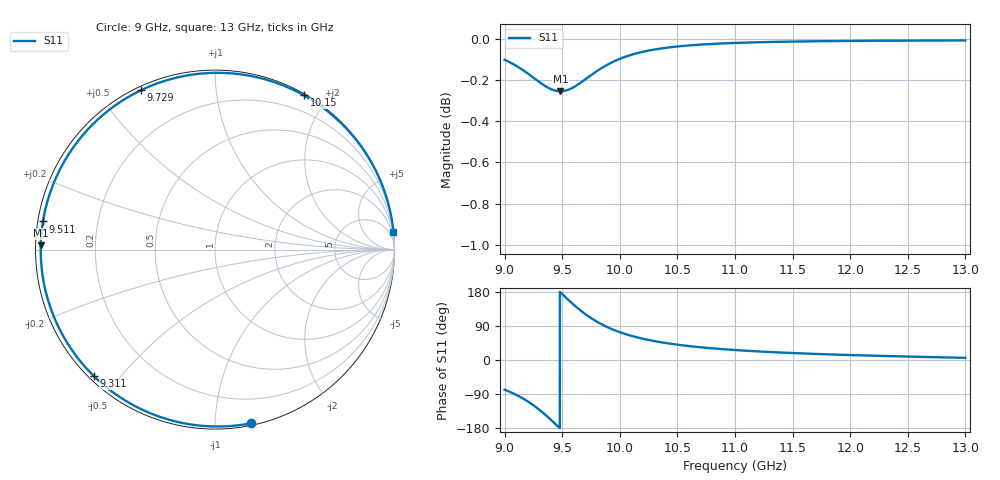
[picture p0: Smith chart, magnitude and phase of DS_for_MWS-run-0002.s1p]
! TOUCHSTONE file generated by CST DESIGN STUDIO
! Date and time: Tue Feb  4 15:56:11 2025
! Project name: C:\Work\MatlabApps\UnitCellOptimizationMatlab\CST\unitcell.cst
! Tree item: Tasks\Sweep1\SPara1\S-Parameters
! Header version: 2024
! Port assignment regex: !\s*Touchstone port\s*([0-9]+)\s*=\s*(CST MWS port|CST DES external port|CST DES block port)\s*(.+)\s* \(\"(.*)\"\)(\s*mode\s*([0-9]+))?.*
! Touchstone port assignment:
! Touchstone port 1 = CST DES external port 1 ("")
# GHz S MA R 50
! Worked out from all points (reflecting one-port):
!   4001 points, 9 GHz to 13 GHz, reference 50 ohm
!   lowest |S11| = -0.3 dB at 9.484 GHz (marker M1), VSWR 68.28, Z = 0.732 + j0.63 ohm
!   phase of S11 starts at -78 deg and turns -276 deg over the sweep
!   S11 on the Smith chart (normalised r, x): 9 GHz: 0.01, -1.23; 9.311 GHz: 0.01, -0.43; 9.511 GHz: 0.01, +0.08; 9.729 GHz: 0.01, +0.64; 10.15 GHz: 0.02, +1.73; 13 GHz: 0, +20
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9  0.9884 -78.3
9.078  0.9859 -88.6
9.177  0.9819 -104.8
9.246  0.9788 -118.6
9.311  0.9757 -133.7
9.357  0.9738 -145.5
9.405  0.9722 -158.7
9.445  0.9714 -170.1
9.484  0.9711 178.6
9.5  0.9712 173.9
9.511  0.9713 170.7
9.564  0.9722 155.6
9.624  0.9743 139.5
9.676  0.9765 126.7
9.729  0.9789 114.9
9.784  0.9814 104.1
9.844  0.9839 93.9
9.921  0.9866 82.8
10  0.9889 73.4
10.146  0.992 60.0
10.306  0.9942 49.5
10.5  0.9958 40.4
10.722  0.9969 33.0
11  0.9978 26.3
11.5  0.9985 18.3
12  0.9989 13.0
12.5  0.9991 9.0
13  0.9992 5.7
